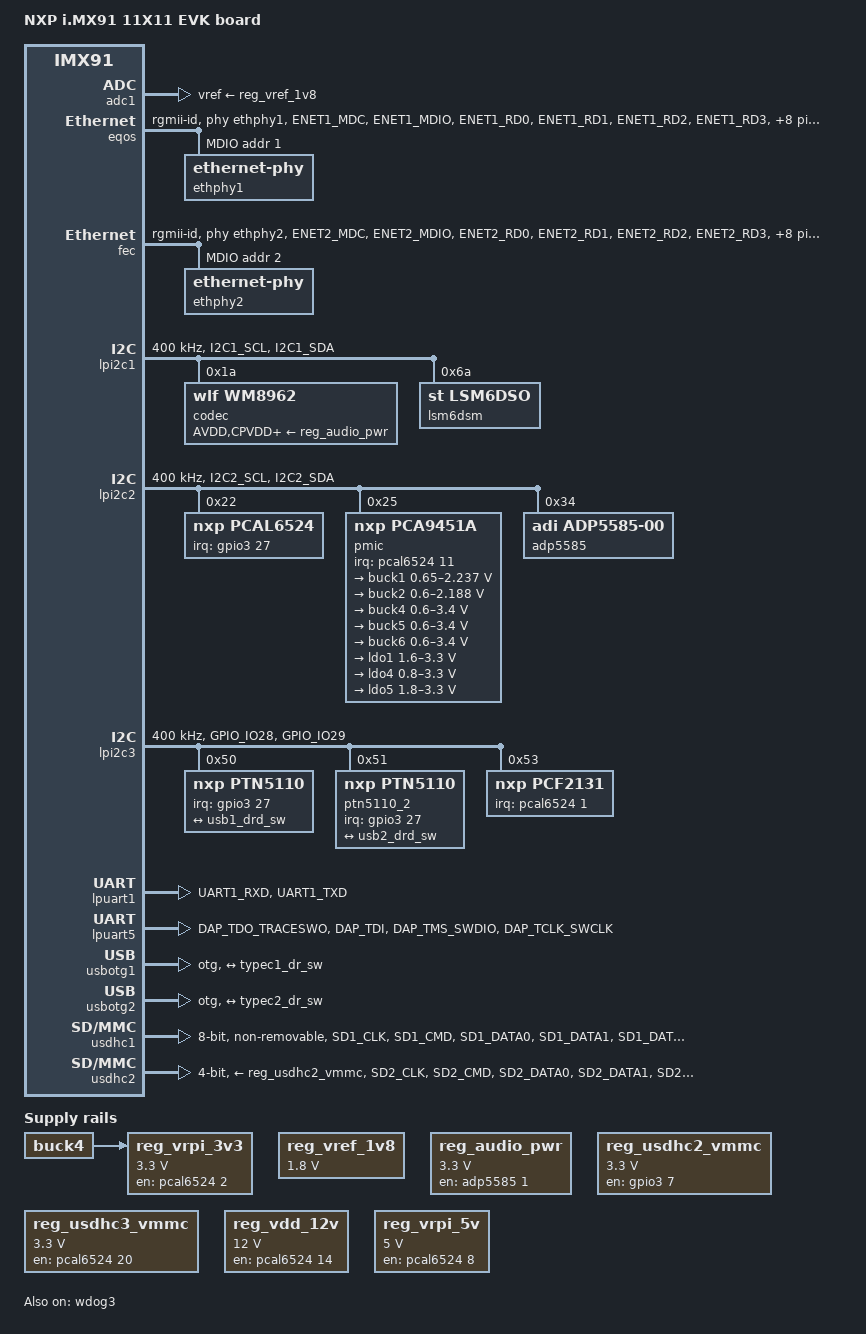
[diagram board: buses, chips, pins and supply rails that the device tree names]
// SPDX-License-Identifier: (GPL-2.0+ OR MIT)
/*
 * Copyright 2024 NXP
 */

/dts-v1/;

#include <dt-bindings/usb/pd.h>
#include "imx91.dtsi"

/ {
	compatible = "fsl,imx91-11x11-evk", "fsl,imx91";
	model = "NXP i.MX91 11X11 EVK board";

	aliases {
		ethernet0 = &fec;
		ethernet1 = &eqos;
		rtc0 = &bbnsm_rtc;
	};

	chosen {
		stdout-path = &lpuart1;
	};

	reg_vref_1v8: regulator-adc-vref {
		compatible = "regulator-fixed";
		regulator-max-microvolt = <1800000>;
		regulator-min-microvolt = <1800000>;
		regulator-name = "vref_1v8";
	};

	reg_audio_pwr: regulator-audio-pwr {
		compatible = "regulator-fixed";
		regulator-always-on;
		regulator-max-microvolt = <3300000>;
		regulator-min-microvolt = <3300000>;
		regulator-name = "audio-pwr";
		gpio = <&adp5585 1 GPIO_ACTIVE_HIGH>;
		enable-active-high;
	};

	reg_usdhc2_vmmc: regulator-usdhc2 {
		compatible = "regulator-fixed";
		off-on-delay-us = <12000>;
		pinctrl-0 = <&pinctrl_reg_usdhc2_vmmc>;
		pinctrl-names = "default";
		regulator-max-microvolt = <3300000>;
		regulator-min-microvolt = <3300000>;
		regulator-name = "VSD_3V3";
		gpio = <&gpio3 7 GPIO_ACTIVE_HIGH>;
		enable-active-high;
	};

	reg_usdhc3_vmmc: regulator-usdhc3 {
		compatible = "regulator-fixed";
		regulator-max-microvolt = <3300000>;
		regulator-min-microvolt = <3300000>;
		regulator-name = "WLAN_EN";
		gpio = <&pcal6524 20 GPIO_ACTIVE_HIGH>;
		enable-active-high;
		/*
		 * IW612 wifi chip needs more delay than other wifi chips to complete
		 * the host interface initialization after power up, otherwise the
		 * internal state of IW612 may be unstable, resulting in the failure of
		 * the SDIO3.0 switch voltage.
		 */
		startup-delay-us = <20000>;
	};

	reg_vdd_12v: regulator-vdd-12v {
		compatible = "regulator-fixed";
		regulator-max-microvolt = <12000000>;
		regulator-min-microvolt = <12000000>;
		regulator-name = "reg_vdd_12v";
		gpio = <&pcal6524 14 GPIO_ACTIVE_HIGH>;
		enable-active-high;
	};

	reg_vrpi_3v3: regulator-vrpi-3v3 {
		compatible = "regulator-fixed";
		regulator-max-microvolt = <3300000>;
		regulator-min-microvolt = <3300000>;
		regulator-name = "VRPI_3V3";
		vin-supply = <&buck4>;
		gpio = <&pcal6524 2 GPIO_ACTIVE_HIGH>;
		enable-active-high;
	};

	reg_vrpi_5v: regulator-vrpi-5v {
		compatible = "regulator-fixed";
		regulator-max-microvolt = <5000000>;
		regulator-min-microvolt = <5000000>;
		regulator-name = "VRPI_5V";
		gpio = <&pcal6524 8 GPIO_ACTIVE_HIGH>;
		enable-active-high;
	};

	reserved-memory {
		ranges;
		#address-cells = <2>;
		#size-cells = <2>;

		linux,cma {
			compatible = "shared-dma-pool";
			alloc-ranges = <0 0x80000000 0 0x40000000>;
			reusable;
			size = <0 0x10000000>;
			linux,cma-default;
		};
	};
};

&adc1 {
	vref-supply = <&reg_vref_1v8>;
	status = "okay";
};

&eqos {
	phy-handle = <&ethphy1>;
	phy-mode = "rgmii-id";
	pinctrl-0 = <&pinctrl_eqos>;
	pinctrl-1 = <&pinctrl_eqos_sleep>;
	pinctrl-names = "default", "sleep";
	status = "okay";

	mdio {
		compatible = "snps,dwmac-mdio";
		#address-cells = <1>;
		#size-cells = <0>;
		clock-frequency = <5000000>;

		ethphy1: ethernet-phy@1 {
			reg = <1>;
			eee-broken-1000t;
		};
	};
};

&fec {
	phy-handle = <&ethphy2>;
	phy-mode = "rgmii-id";
	pinctrl-0 = <&pinctrl_fec>;
	pinctrl-1 = <&pinctrl_fec_sleep>;
	pinctrl-names = "default", "sleep";
	fsl,magic-packet;
	status = "okay";

	mdio {
		#address-cells = <1>;
		#size-cells = <0>;
		clock-frequency = <5000000>;

		ethphy2: ethernet-phy@2 {
			reg = <2>;
			eee-broken-1000t;
		};
	};
};

/*
 * When add, delete or change any target device setting in &lpi2c1,
 * please synchronize the changes to the &i3c1 bus in imx91-11x11-evk-i3c.dts.
 */
&lpi2c1 {
	clock-frequency = <400000>;
	pinctrl-0 = <&pinctrl_lpi2c1>;
	pinctrl-names = "default";
	status = "okay";

	codec: wm8962@1a {
		compatible = "wlf,wm8962";
		reg = <0x1a>;
		clocks = <&clk IMX93_CLK_SAI3_GATE>;
		AVDD-supply = <&reg_audio_pwr>;
		CPVDD-supply = <&reg_audio_pwr>;
		DBVDD-supply = <&reg_audio_pwr>;
		DCVDD-supply = <&reg_audio_pwr>;
		MICVDD-supply = <&reg_audio_pwr>;
		PLLVDD-supply = <&reg_audio_pwr>;
		SPKVDD1-supply = <&reg_audio_pwr>;
		SPKVDD2-supply = <&reg_audio_pwr>;
		gpio-cfg = <
			0x0000 /* 0:Default */
			0x0000 /* 1:Default */
			0x0000 /* 2:FN_DMICCLK */
			0x0000 /* 3:Default */
			0x0000 /* 4:FN_DMICCDAT */
			0x0000 /* 5:Default */
		>;
	};

	lsm6dsm@6a {
		compatible = "st,lsm6dso";
		reg = <0x6a>;
	};
};

&lpi2c2 {
	#address-cells = <1>;
	#size-cells = <0>;
	clock-frequency = <400000>;
	pinctrl-0 = <&pinctrl_lpi2c2>;
	pinctrl-names = "default";
	status = "okay";

	pcal6524: gpio@22 {
		compatible = "nxp,pcal6524";
		reg = <0x22>;
		#interrupt-cells = <2>;
		interrupt-controller;
		interrupts = <27 IRQ_TYPE_LEVEL_LOW>;
		#gpio-cells = <2>;
		gpio-controller;
		interrupt-parent = <&gpio3>;
		pinctrl-0 = <&pinctrl_pcal6524>;
		pinctrl-names = "default";
	};

	pmic@25 {
		compatible = "nxp,pca9451a";
		reg = <0x25>;
		interrupts = <11 IRQ_TYPE_EDGE_FALLING>;
		interrupt-parent = <&pcal6524>;

		regulators {

			buck1: BUCK1 {
				regulator-always-on;
				regulator-boot-on;
				regulator-max-microvolt = <2237500>;
				regulator-min-microvolt = <650000>;
				regulator-name = "BUCK1";
				regulator-ramp-delay = <3125>;
			};

			buck2: BUCK2 {
				regulator-always-on;
				regulator-boot-on;
				regulator-max-microvolt = <2187500>;
				regulator-min-microvolt = <600000>;
				regulator-name = "BUCK2";
				regulator-ramp-delay = <3125>;
			};

			buck4: BUCK4 {
				regulator-always-on;
				regulator-boot-on;
				regulator-max-microvolt = <3400000>;
				regulator-min-microvolt = <600000>;
				regulator-name = "BUCK4";
			};

			buck5: BUCK5 {
				regulator-always-on;
				regulator-boot-on;
				regulator-max-microvolt = <3400000>;
				regulator-min-microvolt = <600000>;
				regulator-name = "BUCK5";
			};

			buck6: BUCK6 {
				regulator-always-on;
				regulator-boot-on;
				regulator-max-microvolt = <3400000>;
				regulator-min-microvolt = <600000>;
				regulator-name = "BUCK6";
			};

			ldo1: LDO1 {
				regulator-always-on;
				regulator-boot-on;
				regulator-max-microvolt = <3300000>;
				regulator-min-microvolt = <1600000>;
				regulator-name = "LDO1";
			};

			ldo4: LDO4 {
				regulator-always-on;
				regulator-boot-on;
				regulator-max-microvolt = <3300000>;
				regulator-min-microvolt = <800000>;
				regulator-name = "LDO4";
			};

			ldo5: LDO5 {
				regulator-always-on;
				regulator-boot-on;
				regulator-max-microvolt = <3300000>;
				regulator-min-microvolt = <1800000>;
				regulator-name = "LDO5";
			};
		};
	};

	adp5585: io-expander@34 {
		compatible = "adi,adp5585-00", "adi,adp5585";
		reg = <0x34>;
		#gpio-cells = <2>;
		gpio-controller;
		#pwm-cells = <3>;
		gpio-reserved-ranges = <5 1>;

		exp-sel-hog {
			gpio-hog;
			gpios = <4 GPIO_ACTIVE_HIGH>;
			output-low;
		};
	};
};

&lpi2c3 {
	#address-cells = <1>;
	#size-cells = <0>;
	clock-frequency = <400000>;
	pinctrl-0 = <&pinctrl_lpi2c3>;
	pinctrl-names = "default";
	status = "okay";

	ptn5110: tcpc@50 {
		compatible = "nxp,ptn5110", "tcpci";
		reg = <0x50>;
		interrupts = <27 IRQ_TYPE_LEVEL_LOW>;
		interrupt-parent = <&gpio3>;
		status = "okay";

		typec1_con: connector {
			compatible = "usb-c-connector";
			data-role = "dual";
			label = "USB-C";
			op-sink-microwatt = <15000000>;
			power-role = "dual";
			self-powered;
			sink-pdos = <PDO_FIXED(5000, 3000, PDO_FIXED_USB_COMM)
				     PDO_VAR(5000, 20000, 3000)>;
			source-pdos = <PDO_FIXED(5000, 3000, PDO_FIXED_USB_COMM)>;
			try-power-role = "sink";

			ports {
				#address-cells = <1>;
				#size-cells = <0>;

				port@0 {
					reg = <0>;

					typec1_dr_sw: endpoint {
						remote-endpoint = <&usb1_drd_sw>;
					};
				};
			};
		};
	};

	ptn5110_2: tcpc@51 {
		compatible = "nxp,ptn5110", "tcpci";
		reg = <0x51>;
		interrupts = <27 IRQ_TYPE_LEVEL_LOW>;
		interrupt-parent = <&gpio3>;
		status = "okay";

		typec2_con: connector {
			compatible = "usb-c-connector";
			data-role = "dual";
			label = "USB-C";
			op-sink-microwatt = <15000000>;
			power-role = "dual";
			self-powered;
			sink-pdos = <PDO_FIXED(5000, 3000, PDO_FIXED_USB_COMM)
				     PDO_VAR(5000, 20000, 3000)>;
			source-pdos = <PDO_FIXED(5000, 3000, PDO_FIXED_USB_COMM)>;
			try-power-role = "sink";

			ports {
				#address-cells = <1>;
				#size-cells = <0>;

				port@0 {
					reg = <0>;

					typec2_dr_sw: endpoint {
						remote-endpoint = <&usb2_drd_sw>;
					};
				};
			};
		};
	};

	pcf2131: rtc@53 {
		compatible = "nxp,pcf2131";
		reg = <0x53>;
		interrupts = <1 IRQ_TYPE_EDGE_FALLING>;
		interrupt-parent = <&pcal6524>;
		status = "okay";
	};
};

&lpuart1 {
	pinctrl-0 = <&pinctrl_uart1>;
	pinctrl-names = "default";
	status = "okay";
};

&lpuart5 {
	pinctrl-0 = <&pinctrl_uart5>;
	pinctrl-names = "default";
	status = "okay";
};

&usbotg1 {
	adp-disable;
	disable-over-current;
	dr_mode = "otg";
	hnp-disable;
	srp-disable;
	usb-role-switch;
	samsung,picophy-dc-vol-level-adjust = <7>;
	samsung,picophy-pre-emp-curr-control = <3>;
	status = "okay";

	port {
		usb1_drd_sw: endpoint {
			remote-endpoint = <&typec1_dr_sw>;
		};
	};
};

&usbotg2 {
	adp-disable;
	disable-over-current;
	dr_mode = "otg";
	hnp-disable;
	srp-disable;
	usb-role-switch;
	samsung,picophy-dc-vol-level-adjust = <7>;
	samsung,picophy-pre-emp-curr-control = <3>;
	status = "okay";

	port {
		usb2_drd_sw: endpoint {
			remote-endpoint = <&typec2_dr_sw>;
		};
	};
};

&usdhc1 {
	bus-width = <8>;
	non-removable;
	pinctrl-0 = <&pinctrl_usdhc1>;
	pinctrl-1 = <&pinctrl_usdhc1_100mhz>;
	pinctrl-2 = <&pinctrl_usdhc1_200mhz>;
	pinctrl-names = "default", "state_100mhz", "state_200mhz";
	status = "okay";
};

&usdhc2 {
	bus-width = <4>;
	cd-gpios = <&gpio3 00 GPIO_ACTIVE_LOW>;
	no-mmc;
	no-sdio;
	pinctrl-0 = <&pinctrl_usdhc2>, <&pinctrl_usdhc2_gpio>;
	pinctrl-1 = <&pinctrl_usdhc2_100mhz>, <&pinctrl_usdhc2_gpio>;
	pinctrl-2 = <&pinctrl_usdhc2_200mhz>, <&pinctrl_usdhc2_gpio>;
	pinctrl-3 = <&pinctrl_usdhc2_sleep>, <&pinctrl_usdhc2_gpio_sleep>;
	pinctrl-names = "default", "state_100mhz", "state_200mhz", "sleep";
	vmmc-supply = <&reg_usdhc2_vmmc>;
	status = "okay";
};

&wdog3 {
	fsl,ext-reset-output;
	status = "okay";
};

&iomuxc {
	pinctrl_eqos: eqosgrp {
		fsl,pins = <
			MX91_PAD_ENET1_MDC__ENET1_MDC			0x57e
			MX91_PAD_ENET1_MDIO__ENET_QOS_MDIO			0x57e
			MX91_PAD_ENET1_RD0__ENET_QOS_RGMII_RD0			0x57e
			MX91_PAD_ENET1_RD1__ENET_QOS_RGMII_RD1			0x57e
			MX91_PAD_ENET1_RD2__ENET_QOS_RGMII_RD2			0x57e
			MX91_PAD_ENET1_RD3__ENET_QOS_RGMII_RD3			0x57e
			MX91_PAD_ENET1_RXC__ENET_QOS_RGMII_RXC	0x5fe
			MX91_PAD_ENET1_RX_CTL__ENET_QOS_RGMII_RX_CTL		0x57e
			MX91_PAD_ENET1_TD0__ENET_QOS_RGMII_TD0			0x57e
			MX91_PAD_ENET1_TD1__ENET1_RGMII_TD1			0x57e
			MX91_PAD_ENET1_TD2__ENET_QOS_RGMII_TD2			0x57e
			MX91_PAD_ENET1_TD3__ENET_QOS_RGMII_TD3			0x57e
			MX91_PAD_ENET1_TXC__CCM_ENET_QOS_CLOCK_GENERATE_TX_CLK	0x5fe
			MX91_PAD_ENET1_TX_CTL__ENET_QOS_RGMII_TX_CTL		0x57e
		>;
	};

	pinctrl_eqos_sleep: eqossleepgrp {
		fsl,pins = <
			MX91_PAD_ENET1_MDC__GPIO4_IO0				0x31e
			MX91_PAD_ENET1_MDIO__GPIO4_IO1				0x31e
			MX91_PAD_ENET1_RD0__GPIO4_IO10                          0x31e
			MX91_PAD_ENET1_RD1__GPIO4_IO11				0x31e
			MX91_PAD_ENET1_RD2__GPIO4_IO12				0x31e
			MX91_PAD_ENET1_RD3__GPIO4_IO13				0x31e
			MX91_PAD_ENET1_RXC__GPIO4_IO9                          0x31e
			MX91_PAD_ENET1_RX_CTL__GPIO4_IO8			0x31e
			MX91_PAD_ENET1_TD0__GPIO4_IO5                          0x31e
			MX91_PAD_ENET1_TD1__GPIO4_IO4                          0x31e
			MX91_PAD_ENET1_TD2__GPIO4_IO3				0x31e
			MX91_PAD_ENET1_TD3__GPIO4_IO3				0x31e
			MX91_PAD_ENET1_TXC__GPIO4_IO7                          0x31e
			MX91_PAD_ENET1_TX_CTL__GPIO4_IO6                       0x31e
		>;
	};

	pinctrl_fec: fecgrp {
		fsl,pins = <
			MX91_PAD_ENET2_MDC__ENET2_MDC			0x57e
			MX91_PAD_ENET2_MDIO__ENET2_MDIO			0x57e
			MX91_PAD_ENET2_RD0__ENET2_RGMII_RD0		0x57e
			MX91_PAD_ENET2_RD1__ENET2_RGMII_RD1		0x57e
			MX91_PAD_ENET2_RD2__ENET2_RGMII_RD2		0x57e
			MX91_PAD_ENET2_RD3__ENET2_RGMII_RD3		0x57e
			MX91_PAD_ENET2_RXC__ENET2_RGMII_RXC		0x5fe
			MX91_PAD_ENET2_RX_CTL__ENET2_RGMII_RX_CTL	0x57e
			MX91_PAD_ENET2_TD0__ENET2_RGMII_TD0		0x57e
			MX91_PAD_ENET2_TD1__ENET2_RGMII_TD1		0x57e
			MX91_PAD_ENET2_TD2__ENET2_RGMII_TD2		0x57e
			MX91_PAD_ENET2_TD3__ENET2_RGMII_TD3		0x57e
			MX91_PAD_ENET2_TXC__ENET2_RGMII_TXC		0x5fe
			MX91_PAD_ENET2_TX_CTL__ENET2_RGMII_TX_CTL	0x57e
		>;
	};

	pinctrl_fec_sleep: fecsleepgrp {
		fsl,pins = <
			MX91_PAD_ENET2_MDC__GPIO4_IO14			0x51e
			MX91_PAD_ENET2_MDIO__GPIO4_IO15			0x51e
			MX91_PAD_ENET2_RD0__GPIO4_IO24			0x51e
			MX91_PAD_ENET2_RD1__GPIO4_IO25			0x51e
			MX91_PAD_ENET2_RD2__GPIO4_IO26			0x51e
			MX91_PAD_ENET2_RD3__GPIO4_IO27			0x51e
			MX91_PAD_ENET2_RXC__GPIO4_IO23			0x51e
			MX91_PAD_ENET2_RX_CTL__GPIO4_IO22		0x51e
			MX91_PAD_ENET2_TD0__GPIO4_IO19			0x51e
			MX91_PAD_ENET2_TD1__GPIO4_IO18			0x51e
			MX91_PAD_ENET2_TD2__GPIO4_IO17			0x51e
			MX91_PAD_ENET2_TD3__GPIO4_IO16			0x51e
			MX91_PAD_ENET2_TXC__GPIO4_IO21			0x51e
			MX91_PAD_ENET2_TX_CTL__GPIO4_IO20		0x51e
		>;
	};

	pinctrl_flexcan2: flexcan2grp {
		fsl,pins = <
			MX91_PAD_GPIO_IO25__CAN2_TX	0x139e
			MX91_PAD_GPIO_IO27__CAN2_RX	0x139e
		>;
	};

	pinctrl_flexcan2_sleep: flexcan2sleepgrp {
		fsl,pins = <
			MX91_PAD_GPIO_IO25__GPIO2_IO25  0x31e
			MX91_PAD_GPIO_IO27__GPIO2_IO27	0x31e
		>;
	};

	pinctrl_lcdif_gpio: lcdifgpiogrp {
		fsl,pins = <
			MX91_PAD_GPIO_IO00__GPIO2_IO0			0x51e
			MX91_PAD_GPIO_IO01__GPIO2_IO1			0x51e
			MX91_PAD_GPIO_IO02__GPIO2_IO2			0x51e
			MX91_PAD_GPIO_IO03__GPIO2_IO3			0x51e
		>;
	};

	pinctrl_lcdif: lcdifgrp {
		fsl,pins = <
			MX91_PAD_GPIO_IO00__MEDIAMIX_DISP_CLK		0x31e
			MX91_PAD_GPIO_IO01__MEDIAMIX_DISP_DE		0x31e
			MX91_PAD_GPIO_IO02__MEDIAMIX_DISP_VSYNC		0x31e
			MX91_PAD_GPIO_IO03__MEDIAMIX_DISP_HSYNC		0x31e
			MX91_PAD_GPIO_IO04__MEDIAMIX_DISP_DATA0		0x31e
			MX91_PAD_GPIO_IO05__MEDIAMIX_DISP_DATA1		0x31e
			MX91_PAD_GPIO_IO06__MEDIAMIX_DISP_DATA2		0x31e
			MX91_PAD_GPIO_IO07__MEDIAMIX_DISP_DATA3		0x31e
			MX91_PAD_GPIO_IO08__MEDIAMIX_DISP_DATA4		0x31e
			MX91_PAD_GPIO_IO09__MEDIAMIX_DISP_DATA5		0x31e
			MX91_PAD_GPIO_IO10__MEDIAMIX_DISP_DATA6		0x31e
			MX91_PAD_GPIO_IO11__MEDIAMIX_DISP_DATA7		0x31e
			MX91_PAD_GPIO_IO12__MEDIAMIX_DISP_DATA8		0x31e
			MX91_PAD_GPIO_IO13__MEDIAMIX_DISP_DATA9		0x31e
			MX91_PAD_GPIO_IO14__MEDIAMIX_DISP_DATA10	0x31e
			MX91_PAD_GPIO_IO15__MEDIAMIX_DISP_DATA11	0x31e
			MX91_PAD_GPIO_IO16__MEDIAMIX_DISP_DATA12	0x31e
			MX91_PAD_GPIO_IO17__MEDIAMIX_DISP_DATA13	0x31e
			MX91_PAD_GPIO_IO18__MEDIAMIX_DISP_DATA14	0x31e
			MX91_PAD_GPIO_IO19__MEDIAMIX_DISP_DATA15	0x31e
			MX91_PAD_GPIO_IO20__MEDIAMIX_DISP_DATA16	0x31e
			MX91_PAD_GPIO_IO21__MEDIAMIX_DISP_DATA17	0x31e
			MX91_PAD_GPIO_IO27__GPIO2_IO27			0x31e
		>;
	};

	pinctrl_lpi2c1: lpi2c1grp {
		fsl,pins = <
			MX91_PAD_I2C1_SCL__LPI2C1_SCL			0x40000b9e
			MX91_PAD_I2C1_SDA__LPI2C1_SDA			0x40000b9e
		>;
	};

	pinctrl_lpi2c2: lpi2c2grp {
		fsl,pins = <
			MX91_PAD_I2C2_SCL__LPI2C2_SCL			0x40000b9e
			MX91_PAD_I2C2_SDA__LPI2C2_SDA			0x40000b9e
		>;
	};

	pinctrl_lpi2c3: lpi2c3grp {
		fsl,pins = <
			MX91_PAD_GPIO_IO28__LPI2C3_SDA			0x40000b9e
			MX91_PAD_GPIO_IO29__LPI2C3_SCL			0x40000b9e
		>;
	};

	pinctrl_pcal6524: pcal6524grp {
		fsl,pins = <
			MX91_PAD_CCM_CLKO2__GPIO3_IO27			0x31e
		>;
	};

	pinctrl_pdm: pdmgrp {
		fsl,pins = <
			MX91_PAD_PDM_CLK__PDM_CLK			0x31e
			MX91_PAD_PDM_BIT_STREAM0__PDM_BIT_STREAM0	0x31e
			MX91_PAD_PDM_BIT_STREAM1__PDM_BIT_STREAM1	0x31e
		>;
	};

	pinctrl_pdm_sleep: pdmsleepgrp {
		fsl,pins = <
			MX91_PAD_PDM_CLK__GPIO1_IO8			0x31e
			MX91_PAD_PDM_BIT_STREAM0__GPIO1_IO9		0x31e
			MX91_PAD_PDM_BIT_STREAM1__GPIO1_IO10		0x31e
		>;
	};

	pinctrl_reg_usdhc2_vmmc: regusdhc2vmmcgrp {
		fsl,pins = <
			MX91_PAD_SD2_RESET_B__GPIO3_IO7	0x31e
		>;
	};

	pinctrl_sai1: sai1grp {
		fsl,pins = <
			MX91_PAD_SAI1_TXC__SAI1_TX_BCLK			0x31e
			MX91_PAD_SAI1_TXFS__SAI1_TX_SYNC		0x31e
			MX91_PAD_SAI1_TXD0__SAI1_TX_DATA0		0x31e
			MX91_PAD_SAI1_RXD0__SAI1_RX_DATA0		0x31e
		>;
	};

	pinctrl_sai1_sleep: sai1sleepgrp {
		fsl,pins = <
			MX91_PAD_SAI1_TXC__GPIO1_IO12                   0x51e
			MX91_PAD_SAI1_TXFS__GPIO1_IO11			0x51e
			MX91_PAD_SAI1_TXD0__GPIO1_IO13			0x51e
			MX91_PAD_SAI1_RXD0__GPIO1_IO14			0x51e
		>;
	};

	pinctrl_sai3: sai3grp {
		fsl,pins = <
			MX91_PAD_GPIO_IO26__SAI3_TX_SYNC		0x31e
			MX91_PAD_GPIO_IO16__SAI3_TX_BCLK		0x31e
			MX91_PAD_GPIO_IO17__SAI3_MCLK			0x31e
			MX91_PAD_GPIO_IO19__SAI3_TX_DATA0		0x31e
			MX91_PAD_GPIO_IO20__SAI3_RX_DATA0		0x31e
		>;
	};

	pinctrl_sai3_sleep: sai3sleepgrp {
		fsl,pins = <
			MX91_PAD_GPIO_IO26__GPIO2_IO26			0x51e
			MX91_PAD_GPIO_IO16__GPIO2_IO16			0x51e
			MX91_PAD_GPIO_IO17__GPIO2_IO17			0x51e
			MX91_PAD_GPIO_IO19__GPIO2_IO19			0x51e
			MX91_PAD_GPIO_IO20__GPIO2_IO20			0x51e
		>;
	};

	pinctrl_spdif: spdifgrp {
		fsl,pins = <
			MX91_PAD_GPIO_IO22__SPDIF_IN		0x31e
			MX91_PAD_GPIO_IO23__SPDIF_OUT		0x31e
		>;
	};

	pinctrl_spdif_sleep: spdifsleepgrp {
		fsl,pins = <
			MX91_PAD_GPIO_IO22__GPIO2_IO22		0x31e
			MX91_PAD_GPIO_IO23__GPIO2_IO23		0x31e
		>;
	};

	pinctrl_uart1: uart1grp {
		fsl,pins = <
			MX91_PAD_UART1_RXD__LPUART1_RX			0x31e
			MX91_PAD_UART1_TXD__LPUART1_TX			0x31e
		>;
	};

	pinctrl_uart5: uart5grp {
		fsl,pins = <
			MX91_PAD_DAP_TDO_TRACESWO__LPUART5_TX	0x31e
			MX91_PAD_DAP_TDI__LPUART5_RX		0x31e
			MX91_PAD_DAP_TMS_SWDIO__LPUART5_RTS_B	0x31e
			MX91_PAD_DAP_TCLK_SWCLK__LPUART5_CTS_B	0x31e
		>;
	};

	pinctrl_usdhc1_100mhz: usdhc1-100mhzgrp {
		fsl,pins = <
			MX91_PAD_SD1_CLK__USDHC1_CLK		0x158e
			MX91_PAD_SD1_CMD__USDHC1_CMD		0x138e
			MX91_PAD_SD1_DATA0__USDHC1_DATA0	0x138e
			MX91_PAD_SD1_DATA1__USDHC1_DATA1	0x138e
			MX91_PAD_SD1_DATA2__USDHC1_DATA2	0x138e
			MX91_PAD_SD1_DATA3__USDHC1_DATA3	0x138e
			MX91_PAD_SD1_DATA4__USDHC1_DATA4	0x138e
			MX91_PAD_SD1_DATA5__USDHC1_DATA5	0x138e
			MX91_PAD_SD1_DATA6__USDHC1_DATA6	0x138e
			MX91_PAD_SD1_DATA7__USDHC1_DATA7	0x138e
			MX91_PAD_SD1_STROBE__USDHC1_STROBE	0x158e
		>;
	};

	pinctrl_usdhc1_200mhz: usdhc1-200mhzgrp {
		fsl,pins = <
			MX91_PAD_SD1_CLK__USDHC1_CLK		0x15fe
			MX91_PAD_SD1_CMD__USDHC1_CMD		0x13fe
			MX91_PAD_SD1_DATA0__USDHC1_DATA0	0x13fe
			MX91_PAD_SD1_DATA1__USDHC1_DATA1	0x13fe
			MX91_PAD_SD1_DATA2__USDHC1_DATA2	0x13fe
			MX91_PAD_SD1_DATA3__USDHC1_DATA3	0x13fe
			MX91_PAD_SD1_DATA4__USDHC1_DATA4	0x13fe
			MX91_PAD_SD1_DATA5__USDHC1_DATA5	0x13fe
			MX91_PAD_SD1_DATA6__USDHC1_DATA6	0x13fe
			MX91_PAD_SD1_DATA7__USDHC1_DATA7	0x13fe
			MX91_PAD_SD1_STROBE__USDHC1_STROBE	0x15fe
		>;
	};

	pinctrl_usdhc1: usdhc1grp {
		fsl,pins = <
			MX91_PAD_SD1_CLK__USDHC1_CLK		0x1582
			MX91_PAD_SD1_CMD__USDHC1_CMD		0x1382
			MX91_PAD_SD1_DATA0__USDHC1_DATA0	0x1382
			MX91_PAD_SD1_DATA1__USDHC1_DATA1	0x1382
			MX91_PAD_SD1_DATA2__USDHC1_DATA2	0x1382
			MX91_PAD_SD1_DATA3__USDHC1_DATA3	0x1382
			MX91_PAD_SD1_DATA4__USDHC1_DATA4	0x1382
			MX91_PAD_SD1_DATA5__USDHC1_DATA5	0x1382
			MX91_PAD_SD1_DATA6__USDHC1_DATA6	0x1382
			MX91_PAD_SD1_DATA7__USDHC1_DATA7	0x1382
			MX91_PAD_SD1_STROBE__USDHC1_STROBE	0x1582
		>;
	};

	pinctrl_usdhc2_100mhz: usdhc2-100mhzgrp {
		fsl,pins = <
			MX91_PAD_SD2_CLK__USDHC2_CLK		0x158e
			MX91_PAD_SD2_CMD__USDHC2_CMD		0x138e
			MX91_PAD_SD2_DATA0__USDHC2_DATA0	0x138e
			MX91_PAD_SD2_DATA1__USDHC2_DATA1	0x138e
			MX91_PAD_SD2_DATA2__USDHC2_DATA2	0x138e
			MX91_PAD_SD2_DATA3__USDHC2_DATA3	0x138e
			MX91_PAD_SD2_VSELECT__USDHC2_VSELECT	0x51e
		>;
	};

	pinctrl_usdhc2_200mhz: usdhc2-200mhzgrp {
		fsl,pins = <
			MX91_PAD_SD2_CLK__USDHC2_CLK		0x15fe
			MX91_PAD_SD2_CMD__USDHC2_CMD		0x13fe
			MX91_PAD_SD2_DATA0__USDHC2_DATA0	0x13fe
			MX91_PAD_SD2_DATA1__USDHC2_DATA1	0x13fe
			MX91_PAD_SD2_DATA2__USDHC2_DATA2	0x13fe
			MX91_PAD_SD2_DATA3__USDHC2_DATA3	0x13fe
			MX91_PAD_SD2_VSELECT__USDHC2_VSELECT	0x51e
		>;
	};

	pinctrl_usdhc2_gpio: usdhc2gpiogrp {
		fsl,pins = <
			MX91_PAD_SD2_CD_B__GPIO3_IO0		0x31e
		>;
	};

	pinctrl_usdhc2_gpio_sleep: usdhc2gpiosleepgrp {
		fsl,pins = <
			MX91_PAD_SD2_CD_B__GPIO3_IO0		0x51e
		>;
	};

	pinctrl_usdhc2: usdhc2grp {
		fsl,pins = <
			MX91_PAD_SD2_CLK__USDHC2_CLK		0x1582
			MX91_PAD_SD2_CMD__USDHC2_CMD		0x1382
			MX91_PAD_SD2_DATA0__USDHC2_DATA0	0x1382
			MX91_PAD_SD2_DATA1__USDHC2_DATA1	0x1382
			MX91_PAD_SD2_DATA2__USDHC2_DATA2	0x1382
			MX91_PAD_SD2_DATA3__USDHC2_DATA3	0x1382
			MX91_PAD_SD2_VSELECT__USDHC2_VSELECT	0x51e
		>;
	};

	pinctrl_usdhc2_sleep: usdhc2sleepgrp {
		fsl,pins = <
			MX91_PAD_SD2_CLK__GPIO3_IO1            0x51e
			MX91_PAD_SD2_CMD__GPIO3_IO2		0x51e
			MX91_PAD_SD2_DATA0__GPIO3_IO3		0x51e
			MX91_PAD_SD2_DATA1__GPIO3_IO4		0x51e
			MX91_PAD_SD2_DATA2__GPIO3_IO5		0x51e
			MX91_PAD_SD2_DATA3__GPIO3_IO6		0x51e
			MX91_PAD_SD2_VSELECT__GPIO3_IO19	0x51e
		>;
	};

	pinctrl_usdhc3_100mhz: usdhc3-100mhzgrp {
		fsl,pins = <
			MX91_PAD_SD3_CLK__USDHC3_CLK		0x158e
			MX91_PAD_SD3_CMD__USDHC3_CMD		0x138e
			MX91_PAD_SD3_DATA0__USDHC3_DATA0	0x138e
			MX91_PAD_SD3_DATA1__USDHC3_DATA1	0x138e
			MX91_PAD_SD3_DATA2__USDHC3_DATA2	0x138e
			MX91_PAD_SD3_DATA3__USDHC3_DATA3	0x138e
		>;
	};

	pinctrl_usdhc3_200mhz: usdhc3-200mhzgrp {
		fsl,pins = <
			MX91_PAD_SD3_CLK__USDHC3_CLK		0x15fe
			MX91_PAD_SD3_CMD__USDHC3_CMD		0x13fe
			MX91_PAD_SD3_DATA0__USDHC3_DATA0	0x13fe
			MX91_PAD_SD3_DATA1__USDHC3_DATA1	0x13fe
			MX91_PAD_SD3_DATA2__USDHC3_DATA2	0x13fe
			MX91_PAD_SD3_DATA3__USDHC3_DATA3	0x13fe
		>;
	};

	pinctrl_usdhc3: usdhc3grp {
		fsl,pins = <
			MX91_PAD_SD3_CLK__USDHC3_CLK		0x1582
			MX91_PAD_SD3_CMD__USDHC3_CMD		0x1382
			MX91_PAD_SD3_DATA0__USDHC3_DATA0	0x1382
			MX91_PAD_SD3_DATA1__USDHC3_DATA1	0x1382
			MX91_PAD_SD3_DATA2__USDHC3_DATA2	0x1382
			MX91_PAD_SD3_DATA3__USDHC3_DATA3	0x1382
		>;
	};

	pinctrl_usdhc3_sleep: usdhc3sleepgrp {
		fsl,pins = <
			MX91_PAD_SD3_CLK__GPIO3_IO20		0x31e
			MX91_PAD_SD3_CMD__GPIO3_IO21		0x31e
			MX91_PAD_SD3_DATA0__GPIO3_IO22		0x31e
			MX91_PAD_SD3_DATA1__GPIO3_IO23		0x31e
			MX91_PAD_SD3_DATA2__GPIO3_IO24		0x31e
			MX91_PAD_SD3_DATA3__GPIO3_IO25		0x31e
		>;
	};

	pinctrl_usdhc3_wlan: usdhc3wlangrp {
		fsl,pins = <
			MX91_PAD_CCM_CLKO1__GPIO3_IO26		0x31e
		>;
	};
};
